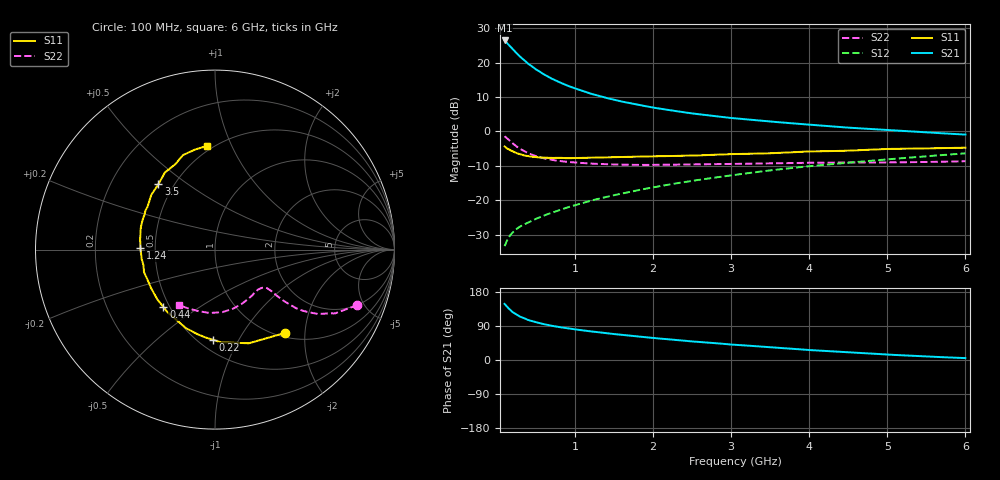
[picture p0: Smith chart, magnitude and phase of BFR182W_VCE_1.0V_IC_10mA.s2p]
! Infineon Technologies  Discrete & RF Semiconductors
! BFR182W
! VCE =  1.0 V,  IC =  10 mA
! Common Emitter S-Parameters:  Nov 2015
# GHz  S  MA  R  50
!  f  S11  S21  S12  S22
! GHz  MAG  ANG  MAG  ANG  MAG  ANG  MAG  ANG
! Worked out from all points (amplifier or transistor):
!   192 points, 100 MHz to 6 GHz, reference 50 ohm
!   highest |S21| = 26.4 dB at 100 MHz (marker M1)
!   |S21| within 3 dB of that: start of sweep to 224.1 MHz
!   unconditionally stable (mu >= 1): 820 MHz to 3.041 GHz
!   at 440 MHz: K = 0.77, MSG = 22.6 dB, |S12| = -26.0 dB
!   at 1.7 GHz: K = 1.10, MAG = 11.0 dB, |S12| = -17.6 dB
!   at 6 GHz: K = 0.84, MSG = 2.7 dB, |S12| = -6.4 dB
!   S11 on the Smith chart (normalised r, x): 100 MHz: 1.07, -1.57; 220 MHz: 0.59, -0.79; 440 MHz: 0.46, -0.36; 1.24 GHz: 0.41, +0.01; 3.5 GHz: 0.41, +0.39; 6 GHz: 0.46, +0.81
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0.1  0.6053 -50.2  20.98 148.0  0.0215 69.1  0.8507 -21.3
0.15  0.555 -70.1  18.28 136.0  0.0287 63.1  0.7585 -27.9
0.2  0.5177 -86.4  15.87 126.8  0.0337 59.1  0.676 -32.0
0.22  0.5023 -91.4  15.02 124.2  0.0355 58.2  0.6482 -33.0
0.26  0.4816 -101.6  13.47 118.8  0.0388 56.9  0.5969 -34.8
0.3  0.4665 -110.3  12.14 114.1  0.0416 56.1  0.5566 -35.9
0.4  0.4381 -127.1  9.672 105.6  0.0475 56.4  0.4823 -36.7
0.44  0.4302 -131.9  8.987 103.4  0.0499 56.7  0.4641 -36.7
0.52  0.4217 -141.1  7.744 98.6  0.0548 57.6  0.4307 -36.7
0.6  0.4159 -148.7  6.783 94.6  0.0597 58.9  0.4065 -36.6
0.7  0.4115 -155.9  5.868 90.4  0.0656 60.3  0.3867 -36.3
0.9  0.4079 -167.5  4.639 83.7  0.0784 62.7  0.3612 -36.5
1.1  0.4126 -176.4  3.878 78.3  0.0914 64.3  0.347 -37.7
1.24  0.4156 178.7  3.45 74.7  0.101 65.1  0.3392 -38.7
1.6  0.4253 167.9  2.718 66.3  0.1254 66.3  0.3286 -42.2
2.08  0.4362 156.6  2.149 56.7  0.1595 66.5  0.3271 -48.7
2.5  0.4453 147.6  1.825 49.0  0.1911 65.8  0.3307 -54.9
3.1  0.4699 137.6  1.531 39.5  0.2378 63.6  0.3379 -65.7
3.5  0.4816 131.0  1.392 33.5  0.2714 61.9  0.3445 -73.4
4.1  0.5139 121.3  1.229 25.2  0.3198 58.1  0.3504 -85.5
5.1  0.5577 107.2  1.033 13.3  0.4009 51.3  0.3553 -106.9
6  0.5797 94.6  0.899 5.0  0.4805 44.5  0.3693 -123.3
